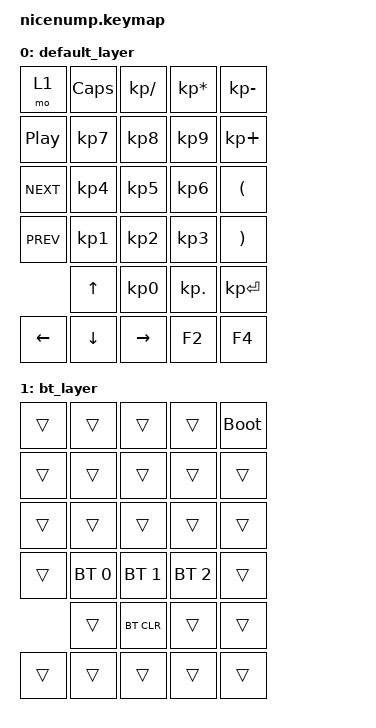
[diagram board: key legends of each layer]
#include <behaviors.dtsi>
#include <dt-bindings/zmk/keys.h>
#include <dt-bindings/zmk/bt.h>

/ {  
    keymap {
        compatible = "zmk,keymap";

        default_layer {
            bindings = <
                &mo 1              &kp CAPS         &kp KP_SLASH    &kp KP_ASTERISK     &kp KP_MINUS      
                &kp C_PLAY_PAUSE   &kp KP_N7        &kp KP_N8       &kp KP_N9           &kp KP_PLUS                  
                &kp C_NEXT         &kp KP_N4        &kp KP_N5       &kp KP_N6           &kp LPAR                 
                &kp C_PREV         &kp KP_N1        &kp KP_N2       &kp KP_N3           &kp RPAR
                                   &kp UP           &kp KP_N0       &kp KP_DOT          &kp KP_ENTER
                &kp LEFT           &kp DOWN         &kp RIGHT       &kp F2              &kp F4
            >;
        }; 
        
        bt_layer {
            bindings = <
                &trans     &trans           &trans          &trans              &bootloader      
                &trans     &trans           &trans          &trans              &trans                  
                &trans     &trans           &trans          &trans              &trans
                &trans     &bt BT_SEL 0     &bt BT_SEL 1    &bt BT_SEL 2        &trans                  
                           &trans           &bt BT_CLR      &trans              &trans
                &trans     &trans           &trans          &trans              &trans
            >;
        };
    };
};
